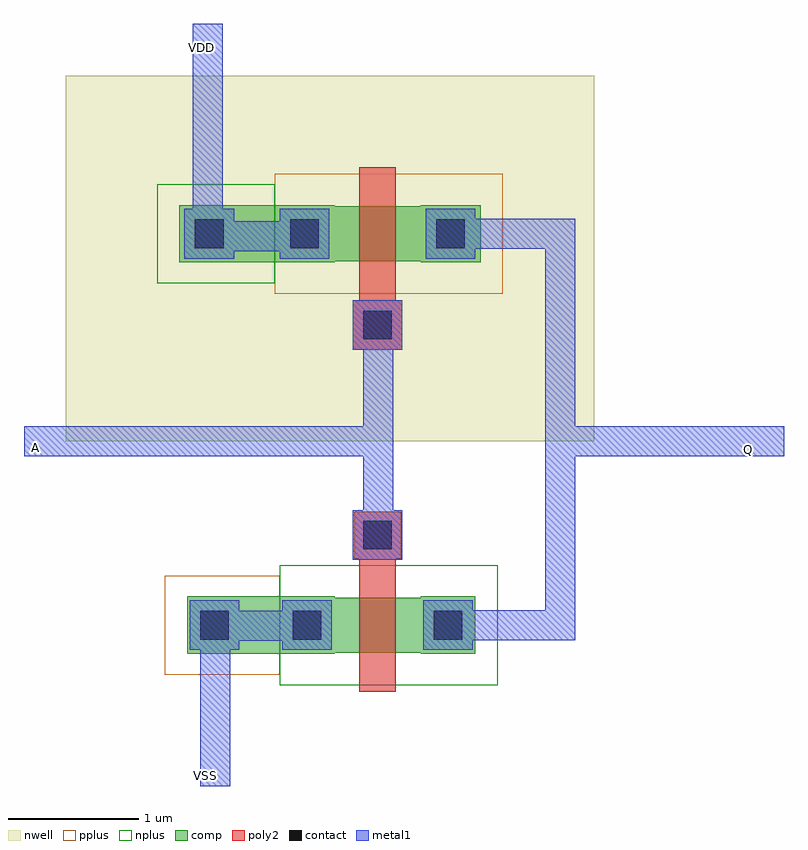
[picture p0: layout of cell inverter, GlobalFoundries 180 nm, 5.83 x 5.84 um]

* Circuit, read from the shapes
.subckt inverter A Q VDD VSS
XM1 Q A VSS VSS nfet_03v3 w=0.42u l=0.28u
XM2 Q A VDD VDD pfet_03v3 w=0.42u l=0.28u
.ends

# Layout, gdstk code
from math import pi, radians
import gdstk
lib = gdstk.Library(unit=1e-6, precision=1e-09)
def R(c, l, rs):  # rectangles x0, y0, x1, y1
    for r in rs: c.add(gdstk.rectangle(r[:2], r[2:], *l))
def P(c, l, *ps):  # polygons
    for p in ps: c.add(gdstk.Polygon(p, *l))
nwell = (21, 0)
comp = (22, 0)
poly2 = (30, 0)
pplus = (31, 0)
nplus = (32, 0)
contact = (33, 0)
metal1 = (34, 0)

pfet = lib.new_cell('pfet')
R(pfet, nwell, [(-1.33,-1.38,2.72,1.42)])
P(pfet, comp, [(-0.46,-0.01),(-0.46,0.43),(0,0.43),(0,0.42),(0.66,0.42),(0.66,0.43),(1.85,0.43),(1.85,-0.01),(0.66,-0.01),(0.66,0),(0,0),(0,-0.01)])
P(pfet, poly2, [(0.14,-0.68),(0.14,-0.3),(0.19,-0.3),(0.19,0.72),(0.47,0.72),(0.47,-0.3),(0.52,-0.3),(0.52,-0.68)])
R(pfet, pplus, [(-0.63,-0.25,1.12,0.67)])
R(pfet, nplus, [(1.12,-0.17,2.02,0.59)])
R(pfet, contact, [(0.22,-0.6,0.44,-0.38), (-0.34,0.1,-0.12,0.32), (0.78,0.1,1,0.32), (1.51,0.1,1.73,0.32)])
R(pfet, metal1, [(0.14,-0.68,0.52,-0.3), (-0.42,0.02,-0.04,0.4), (0.7,0.02,1.08,0.4), (1.43,0.02,1.81,0.4)])

nfet = lib.new_cell('nfet')
P(nfet, comp, [(-0.42,-0.01),(-0.42,0.43),(0,0.43),(0,0.42),(0.66,0.42),(0.66,0.43),(1.79,0.43),(1.79,-0.01),(0.66,-0.01),(0.66,0),(0,0),(0,-0.01)])
P(nfet, poly2, [(0.19,-0.3),(0.19,0.72),(0.15,0.72),(0.15,1.08),(0.51,1.08),(0.51,0.72),(0.47,0.72),(0.47,-0.3)])
R(nfet, pplus, [(1.08,-0.17,1.96,0.59)])
R(nfet, nplus, [(-0.59,-0.25,1.08,0.67)])
R(nfet, contact, [(-0.32,0.1,-0.1,0.32), (0.76,0.1,0.98,0.32), (1.47,0.1,1.69,0.32), (0.22,0.79,0.44,1.01)])
R(nfet, metal1, [(-0.4,0.02,-0.02,0.4), (0.68,0.02,1.06,0.4), (1.39,0.02,1.77,0.4), (0.14,0.71,0.52,1.09)])

inverter = lib.new_cell('inverter')
inverter.add(gdstk.FlexPath([(-0.9,0.19),(-1.63,0.19),(-1.63,1.82)], 0.23, ends="flush", simple_path=True, layer=34, datatype=0))  # metal1
inverter.add(gdstk.FlexPath([(1.07,-1.38),(2.785,-1.38)], 0.23, ends="flush", simple_path=True, layer=34, datatype=0))  # metal1
inverter.add(gdstk.FlexPath([(-0.325,-0.38),(-0.325,-2.21)], 0.23, ends="flush", simple_path=True, layer=34, datatype=0))  # metal1
inverter.add(gdstk.FlexPath([(-0.325,-1.38),(-3.04,-1.38)], 0.23, ends="flush", simple_path=True, layer=34, datatype=0))  # metal1
inverter.add(gdstk.FlexPath([(-0.76,-2.795),(-1.575,-2.795),(-1.575,-4.025)], 0.23, ends="flush", simple_path=True, layer=34, datatype=0))  # metal1
inverter.add(gdstk.FlexPath([(0.12,0.21),(1.07,0.21),(1.07,-2.79),(0.08,-2.79)], 0.23, ends="flush", simple_path=True, layer=34, datatype=0))  # metal1
inverter.add(gdstk.Reference(pfet, (0,0), rotation=pi, x_reflection=True))
inverter.add(gdstk.Reference(nfet, (0,-3), rotation=pi, x_reflection=True))
inverter.add(gdstk.Label('A', (-2.95,-1.43), layer=34, texttype=10))
inverter.add(gdstk.Label('Q', (2.51,-1.445), layer=34, texttype=10))
inverter.add(gdstk.Label('VDD', (-1.68,1.64), layer=34, texttype=10))
inverter.add(gdstk.Label('VSS', (-1.65,-3.945), layer=34, texttype=10))

lib.write_gds('inverter.gds')
